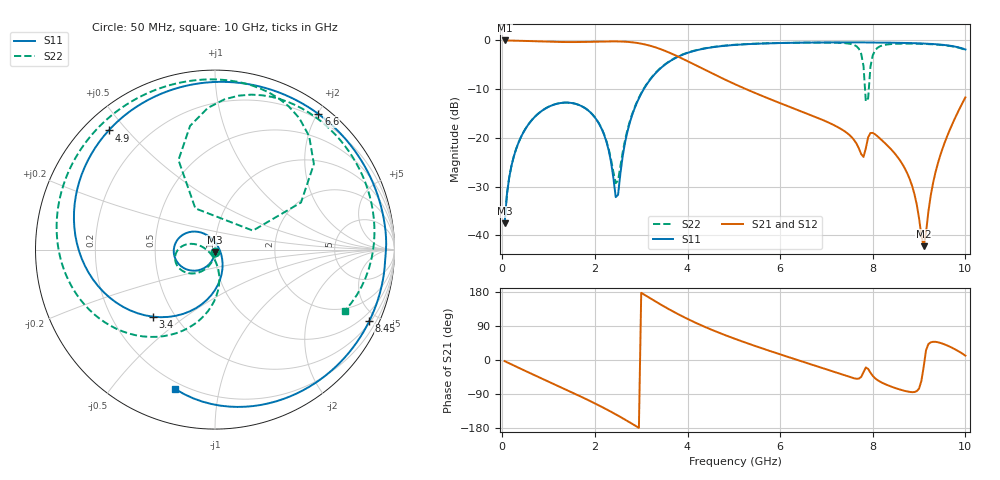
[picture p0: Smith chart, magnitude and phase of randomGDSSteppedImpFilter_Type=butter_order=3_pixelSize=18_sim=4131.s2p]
! freq	dB(S11)	phase(S11)	dB(S12)	phase(S12)
!  dB(S21)	phase(S21)	dB(S22)	phase(S22)
!S-par simulation data
#  GHz  S  DB  R 50
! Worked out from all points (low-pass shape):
!   200 points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, 50 MHz to 10 GHz, reference 50 ohm
!   highest |S21| = -0.01 dB at 50 MHz (marker M1); lowest = -42.2 dB at 9.1 GHz (marker M2)
!   |S21| within 3 dB of the highest: start of sweep to 3.725 GHz
!   lowest |S11| = -37.6 dB at 50 MHz (marker M3), VSWR 1.03, Z = 49.9 - j1.32 ohm
!   |S11| at or under -10 dB: start of sweep to 3.056 GHz
!   |S22| runs from -37.6 to -0.4 dB; largest |S21 - S12| = 0
!   S11 on the Smith chart (normalised r, x): 50 MHz: 1.00, -0.03; 3.4 GHz: 0.38, -0.38; 4.9 GHz: 0.07, +0.45; 6.6 GHz: 0.13, +2.01; 8.45 GHz: 0.57, -4.45; 10 GHz: 0.17, -0.74
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0.05  -37.57 -92.8  -0.01 -3.0  -0.01 -3.0  -37.55 -92.3
0.2  -25.65 -102.6  -0.03 -11.7  -0.03 -11.7  -25.64 -100.7
0.55  -17.43 -124.9  -0.12 -31.8  -0.12 -31.8  -17.42 -119.7
1.75  -13.69 159.9  -0.31 -99.7  -0.31 -99.7  -13.67 -179.4
2.2  -19.40 124.1  -0.22 -127.0  -0.22 -127.0  -19.30 164.6
2.45  -32.17 51.3  -0.20 -143.4  -0.20 -143.4  -29.30 -151.1
2.8  -15.45 -80.3  -0.38 -168.1  -0.38 -168.1  -15.23 -81.9
3.4  -5.87 -132.7  -1.72 147.9  -1.72 147.9  -5.80 -114.8
4.15  -2.13 174.1  -4.96 99.7  -4.96 99.7  -2.08 -156.8
4.9  -1.01 131.8  -8.45 61.6  -8.45 61.6  -0.97 170.6
5.05  -0.90 124.1  -9.10 54.7  -9.10 54.7  -0.86 164.9
6.6  -0.44 52.6  -15.09 -8.8  -15.09 -8.8  -0.45 110.6
6.7  -0.43 48.3  -15.47 -12.8  -15.47 -12.8  -0.45 107.0
7.55  -0.39 12.3  -19.91 -46.7  -19.91 -46.7  -0.77 67.3
7.75  -0.40 3.9  -23.33 -44.7  -23.33 -44.7  -2.75 40.9
7.85  -0.43 -0.3  -22.15 -19.7  -22.15 -19.7  -12.54 26.6
7.95  -0.44 -4.3  -19.01 -33.5  -19.01 -33.5  -5.37 112.2
8.35  -0.46 -20.8  -21.90 -68.0  -21.90 -68.0  -0.79 66.6
8.45  -0.47 -24.9  -22.93 -72.5  -22.93 -72.5  -0.71 60.9
9.1  -0.63 -53.4  -42.24 -17.4  -42.24 -17.4  -0.71 29.1
9.4  -0.80 -68.0  -25.42 47.0  -25.42 47.0  -0.86 13.7
10  -1.86 -106.0  -11.69 11.6  -11.69 11.6  -1.95 -25.4
